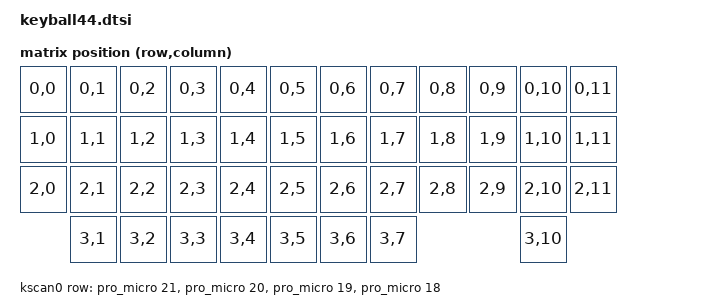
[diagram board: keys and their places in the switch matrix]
/*
 * Copyright (c) 2022 The ZMK Contributors
 *
 * SPDX-License-Identifier: MIT
 */

#include <dt-bindings/led/led.h>
#include <dt-bindings/zmk/matrix_transform.h>

&pinctrl {
    spi3_default: spi3_default {
        group1 {
            psels = <NRF_PSEL(SPIM_MOSI, 0, 6)>;
        };
    };

    spi3_sleep: spi3_sleep {
        group1 {
            psels = <NRF_PSEL(SPIM_MOSI, 0, 6)>;
            low-power-enable;
        };
    };
};

&spi3 {
    compatible = "nordic,nrf-spim";
    status = "okay";

    pinctrl-0 = <&spi3_default>;
    pinctrl-1 = <&spi3_sleep>;
    pinctrl-names = "default", "sleep";

    led_strip: ws2812@0 {
        compatible = "worldsemi,ws2812-spi";
        label = "WS2812";

        /* SPI */
        reg = <0>; /* ignored, but necessary for SPI bindings */
        spi-max-frequency = <4000000>;

        /* WS2812 */
        chain-length = <29>; /* arbitrary; change at will */
        spi-one-frame = <0x70>;
        spi-zero-frame = <0x40>;

        color-mapping = <LED_COLOR_ID_GREEN LED_COLOR_ID_RED LED_COLOR_ID_BLUE>;
    };
};

/ {
    chosen {
        zmk,kscan = &kscan0;
        zmk,matrix_transform = &default_transform;
        zephyr,display = &ssd1306_ssd1306_128x32;
        zmk,underglow = &led_strip;
    };

    default_transform: keymap_transform_0 {
        compatible = "zmk,matrix-transform";
        columns = <12>;
        rows = <4>;
//             | SW01  | SW02  | SW03  | SW04  | SW05  |  | SW05  | SW04  | SW03  | SW02  | SW01  |
//             | SW06  | SW07  | SW08  | SW09  | SW10  |  | SW10  | SW09  | SW08  | SW07  | SW06  | 
//      | SW16 | SW11  | SW12  | SW13  | SW14  | SW15  |  | SW15  | SW14  | SW13  | SW12  | SW11  | SW16  |
//                             | SW17  | SW18  | SW19  |  | SW19  | SW18  | SW17  | 
        map = <
        RC(0,0) RC(0,1) RC(0,2) RC(0,3) RC(0,4) RC(0,5)    RC(0,6) RC(0,7) RC(0,8) RC(0,9) RC(0,10) RC(0,11) 
        RC(1,0) RC(1,1) RC(1,2) RC(1,3) RC(1,4) RC(1,5)    RC(1,6) RC(1,7) RC(1,8) RC(1,9) RC(1,10) RC(1,11) 
        RC(2,0) RC(2,1) RC(2,2) RC(2,3) RC(2,4) RC(2,5)    RC(2,6) RC(2,7) RC(2,8) RC(2,9) RC(2,10) RC(2,11) 
                RC(3,1) RC(3,2) RC(3,3) RC(3,4) RC(3,5)    RC(3,6) RC(3,7)                 RC(3,10)   
        >;
    };

    kscan0: kscan {
        compatible = "zmk,kscan-gpio-matrix";
        label = "KSCAN";

        diode-direction = "col2row";
        row-gpios
            = <&pro_micro 21 (GPIO_ACTIVE_HIGH | GPIO_PULL_DOWN)>
            , <&pro_micro 20 (GPIO_ACTIVE_HIGH | GPIO_PULL_DOWN)>
            , <&pro_micro 19 (GPIO_ACTIVE_HIGH | GPIO_PULL_DOWN)>
            , <&pro_micro 18 (GPIO_ACTIVE_HIGH | GPIO_PULL_DOWN)>
            ;

    };

};
&pro_micro_i2c {
	status = "okay";

	ssd1306_ssd1306_128x32: ssd1306@3c {
		compatible = "solomon,ssd1306fb";
		reg = <0x3c>;
		width = <128>;
		height = <32>;
		segment-offset = <0>;
		page-offset = <0>;
		display-offset = <0>;
		multiplex-ratio = <31>;
		segment-remap;
		com-invdir;
		com-sequential;
		prechargep = <0x22>;
	};
};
